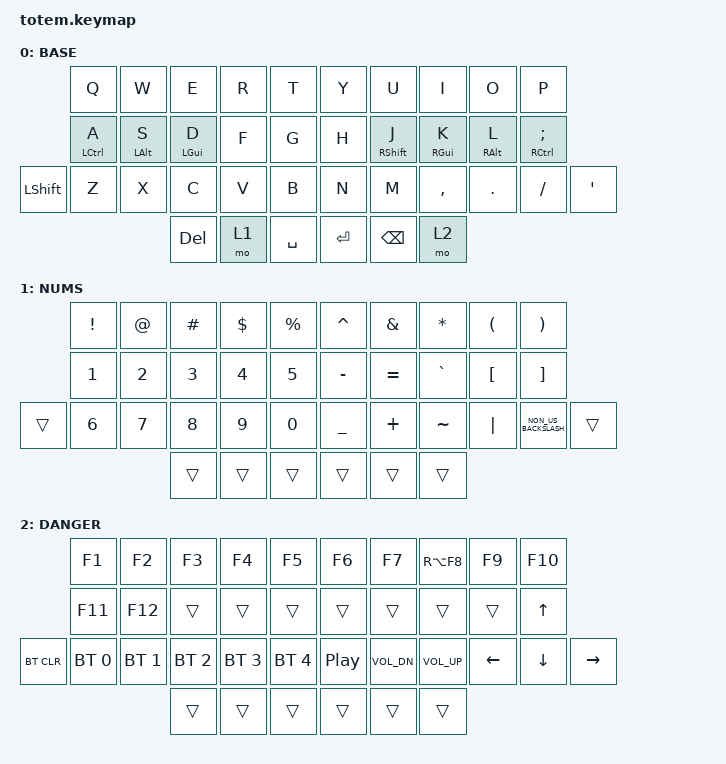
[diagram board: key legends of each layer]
//
//                                                        ▀▀▀▀▀     ▀▀▀▀▀          ▀▀█▀▀
//                                                        ▄▀▀▀▄  ▄  ▄▀▀▀▄  ▄  ▄▀▀▀▄  █  ▄▀▀▀▄
//                                                        █   █  █  █   █  █  █   █  █  █   █
//                                                         ▀▀▀   █   ▀▀▀   █   ▀▀▀   ▀   ▀▀▀
//                                                               █      ▄▄▄█▄▄▄    █   █  
//                                                               ▀      █  █  █     █▄█
//                                                             ▀▀▀▀▀    █  █  █      ▀
//                                                                      ▀  ▀  ▀
//
// ▄▄▄▄▄▄▄▄▄▄▄▄▄▄▄▄▄▄▄▄▄▄▄▄▄▄▄▄▄▄▄▄▄▄▄▄▄▄▄▄▄▄▄▄▄▄▄▄▄▄▄▄▄▄▄▄▄▄▄▄▄▄▄▄▄▄▄▄▄▄▄▄▄▄▄▄▄▄▄▄▄▄▄▄▄▄▄▄▄▄▄▄▄▄▄▄▄▄▄▄▄▄▄▄▄▄▄▄▄▄▄▄▄▄▄▄▄▄▄▄▄▄▄▄▄▄▄▄▄▄▄▄▄▄▄▄▄▄▄▄▄▄▄▄▄▄▄▄▄

#include <behaviors.dtsi>
#include <dt-bindings/zmk/bt.h>
#include <dt-bindings/zmk/keys.h>

#define BASE 0
#define NAV  1
#define SYM  2
#define ADJ  3
#define TVP1 4
#define TVP2 5

&mt {
    quick-tap-ms = <100>;
    global-quick-tap;
    flavor = "tap-preferred";
    tapping-term-ms = <170>;
};

/ {
    combos {
        compatible = "zmk,combos";

        combo_esc {
            timeout-ms = <50>;
            key-positions = <0 1>;
            bindings = <&kp ESC>;
        };

        combo_tab {
            bindings = <&kp TAB>;
            key-positions = <10 11>;
        };

        combo_undo {
            bindings = <&kp LG(Z)>;
            key-positions = <21 22>;
        };

        combo_cut {
            bindings = <&kp LG(X)>;
            key-positions = <22 23>;
        };

        combo_copy {
            bindings = <&kp LG(C)>;
            key-positions = <23 24>;
        };

        combo_paste {
            bindings = <&kp LG(V)>;
            key-positions = <24 25>;
        };

        lock_screen {
            bindings = <&kp LG(L)>;
            key-positions = <20 31>;
        };
    };

    keymap {
        compatible = "zmk,keymap";

        // ▄▄▄▄▄▄▄▄▄▄▄▄▄▄▄▄▄▄▄▄▄▄▄▄▄▄▄▄▄▄▄▄▄▄▄▄▄▄▄▄▄▄▄▄▄▄▄▄▄▄▄▄▄▄▄▄▄▄▄▄▄▄▄▄▄▄▄▄▄▄▄▄▄▄▄▄▄▄▄▄▄▄▄▄▄▄▄▄▄▄▄▄▄▄▄▄▄▄▄▄▄▄▄▄▄▄▄▄▄▄▄▄▄▄▄▄▄▄▄▄▄▄▄▄▄▄▄▄▄▄▄▄▄▄▄▄▄▄▄▄▄▄▄▄▄▄▄▄▄

        base_layer {
            // ┏━━━━━━━━━━━━━━━━━━━━━━━━━━━━━━━━━━━━━━━┓

            label = "BASE";

            // ┗━━━━━━━━━━━━━━━━━━━━━━━━━━━━━━━━━━━━━━━┛
            //             ┏━━━━━━━━━━━┳━━━━━━━━━━━┳━━━━━━━━━━━┳━━━━━━━━━━━┳━━━━━━━━━━━┓   ┏━━━━━━━━━━━┳━━━━━━━━━━━┳━━━━━━━━━━━┳━━━━━━━━━━━┳━━━━━━━━━━━┓
            //             ┃     Q     ┃     W     ┃     F     ┃     P     ┃     G     ┃   ┃     J     ┃     L     ┃     U     ┃     Y     ┃     ;     ┃
            //             ┣━━━━━━━━━━━╋━━━━━━━━━━━╋━━━━━━━━━━━╋━━━━━━━━━━━╋━━━━━━━━━━━┫   ┣━━━━━━━━━━━╋━━━━━━━━━━━╋━━━━━━━━━━━╋━━━━━━━━━━━╋━━━━━━━━━━━┫
            //             ┃     A     ┃     R     ┃     S     ┃     T     ┃     D     ┃   ┃     H     ┃     N     ┃     E     ┃     I     ┃     O     ┃
            // ┏━━━━━━━━━━━╋━━━━━━━━━━━╋━━━━━━━━━━━╋━━━━━━━━━━━╋━━━━━━━━━━━╋━━━━━━━━━━━┫   ┣━━━━━━━━━━━╋━━━━━━━━━━━╋━━━━━━━━━━━╋━━━━━━━━━━━╋━━━━━━━━━━━╋━━━━━━━━━━━┓
            // ┃     Q     ┃     Z     ┃     X     ┃     C     ┃     V     ┃     B     ┃   ┃     K     ┃     M     ┃     ,     ┃     .     ┃     /     ┃     \     ┃
            // ┗━━━━━━━━━━━┻━━━━━━━━━━━┻━━━━━━━━━━━╋━━━━━━━━━━━╋━━━━━━━━━━━╋━━━━━━━━━━━┫   ┣━━━━━━━━━━━╋━━━━━━━━━━━╋━━━━━━━━━━━╋━━━━━━━━━━━┻━━━━━━━━━━━┻━━━━━━━━━━━┛
            //                                     ┃    DEL    ┃    TAB    ┃    SPC    ┃   ┃   ENTER   ┃           ┃   BSPC    ┃
            //                                     ┗━━━━━━━━━━━┻━━━━━━━━━━━┻━━━━━━━━━━━┛   ┗━━━━━━━━━━━┻━━━━━━━━━━━┻━━━━━━━━━━━┛

            bindings = <
                &kp Q        &kp W       &kp E           &kp R  &kp T        &kp Y    &kp U          &kp I            &kp O       &kp P
                &mt LCTRL A  &mt LALT S  &mt LEFT_GUI D  &kp F  &kp G        &kp H    &mt RSHFT J    &mt RIGHT_GUI K  &mt RALT L  &mt RCTRL SEMICOLON
&kp LEFT_SHIFT  &kp Z        &kp X       &kp C           &kp V  &kp B        &kp N    &kp M          &kp COMMA        &kp DOT     &kp FSLH             &kp SQT
                                         &kp DELETE      &mo 1  &kp SPACE    &kp RET  &kp BACKSPACE  &mo 2
            >;
        };

        // ▄▄▄▄▄▄▄▄▄▄▄▄▄▄▄▄▄▄▄▄▄▄▄▄▄▄▄▄▄▄▄▄▄▄▄▄▄▄▄▄▄▄▄▄▄▄▄▄▄▄▄▄▄▄▄▄▄▄▄▄▄▄▄▄▄▄▄▄▄▄▄▄▄▄▄▄▄▄▄▄▄▄▄▄▄▄▄▄▄▄▄▄▄▄▄▄▄▄▄▄▄▄▄▄▄▄▄▄▄▄▄▄▄▄▄▄▄▄▄▄▄▄▄▄▄▄▄▄▄▄▄▄▄▄▄▄▄▄▄▄▄▄▄▄▄▄▄▄▄

        nums_layer {
            // ┏━━━━━━━━━━━━━━━━━━━━━━━━━━━━━━━━━━━━━━━┓

            label = "NUMS";

            // ┗━━━━━━━━━━━━━━━━━━━━━━━━━━━━━━━━━━━━━━━┛
            //             ┏━━━━━━━━━━━┳━━━━━━━━━━━┳━━━━━━━━━━━┳━━━━━━━━━━━┳━━━━━━━━━━━┓   ┏━━━━━━━━━━━┳━━━━━━━━━━━┳━━━━━━━━━━━┳━━━━━━━━━━━┳━━━━━━━━━━━┓
            //             ┃           ┃           ┃     UP    ┃           ┃     {     ┃   ┃     }     ┃     7     ┃     8     ┃     9     ┃     +     ┃
            //             ┣━━━━━━━━━━━╋━━━━━━━━━━━╋━━━━━━━━━━━╋━━━━━━━━━━━╋━━━━━━━━━━━┫   ┣━━━━━━━━━━━╋━━━━━━━━━━━╋━━━━━━━━━━━╋━━━━━━━━━━━╋━━━━━━━━━━━┫
            //             ┃   SHIFT   ┃   LEFT    ┃    DOWN   ┃   RIGHT   ┃     [     ┃   ┃     ]     ┃     4     ┃     5     ┃     6     ┃     -     ┃
            // ┏━━━━━━━━━━━╋━━━━━━━━━━━╋━━━━━━━━━━━╋━━━━━━━━━━━╋━━━━━━━━━━━╋━━━━━━━━━━━┫   ┣━━━━━━━━━━━╋━━━━━━━━━━━╋━━━━━━━━━━━╋━━━━━━━━━━━╋━━━━━━━━━━━╋━━━━━━━━━━━┓
            // ┃           ┃           ┃   P UP    ┃  C LOCK   ┃  P DOWN   ┃     (     ┃   ┃     )     ┃     1     ┃     2     ┃     3     ┃     *     ┃           ┃
            // ┗━━━━━━━━━━━┻━━━━━━━━━━━┻━━━━━━━━━━━╋━━━━━━━━━━━╋━━━━━━━━━━━╋━━━━━━━━━━━┫   ┣━━━━━━━━━━━╋━━━━━━━━━━━╋━━━━━━━━━━━╋━━━━━━━━━━━┻━━━━━━━━━━━┻━━━━━━━━━━━┛
            //                                     ┃           ┃    TAB    ┃    SPC    ┃   ┃    DEL    ┃     0     ┃           ┃
            //                                     ┗━━━━━━━━━━━┻━━━━━━━━━━━┻━━━━━━━━━━━┛   ┗━━━━━━━━━━━┻━━━━━━━━━━━┻━━━━━━━━━━━┛

            bindings = <
        &kp EXCLAMATION  &kp AT_SIGN   &kp HASH      &kp DOLLAR    &kp PERCENT    &kp CARET       &kp AMPERSAND  &kp ASTERISK  &kp LEFT_PARENTHESIS  &kp RIGHT_PARENTHESIS
        &kp NUMBER_1     &kp NUMBER_2  &kp NUMBER_3  &kp NUMBER_4  &kp N5         &kp MINUS       &kp EQUAL      &kp GRAVE     &kp LEFT_BRACKET      &kp RIGHT_BRACKET
&trans  &kp NUMBER_6     &kp N7        &kp N8        &kp N9        &kp N0         &kp UNDERSCORE  &kp PLUS       &kp TILDE     &kp PIPE              &kp NON_US_BACKSLASH   &trans
                                       &trans        &trans        &trans         &trans          &trans         &trans
            >;
        };

        // ▄▄▄▄▄▄▄▄▄▄▄▄▄▄▄▄▄▄▄▄▄▄▄▄▄▄▄▄▄▄▄▄▄▄▄▄▄▄▄▄▄▄▄▄▄▄▄▄▄▄▄▄▄▄▄▄▄▄▄▄▄▄▄▄▄▄▄▄▄▄▄▄▄▄▄▄▄▄▄▄▄▄▄▄▄▄▄▄▄▄▄▄▄▄▄▄▄▄▄▄▄▄▄▄▄▄▄▄▄▄▄▄▄▄▄▄▄▄▄▄▄▄▄▄▄▄▄▄▄▄▄▄▄▄▄▄▄▄▄▄▄▄▄▄▄▄▄▄▄

        danger_layer {
            // ┏━━━━━━━━━━━━━━━━━━━━━━━━━━━━━━━━━━━━━━━┓

            label = "DANGER";

            // ┗━━━━━━━━━━━━━━━━━━━━━━━━━━━━━━━━━━━━━━━┛
            //             ┏━━━━━━━━━━━┳━━━━━━━━━━━┳━━━━━━━━━━━┳━━━━━━━━━━━┳━━━━━━━━━━━┓   ┏━━━━━━━━━━━┳━━━━━━━━━━━┳━━━━━━━━━━━┳━━━━━━━━━━━┳━━━━━━━━━━━┓
            //             ┃     !     ┃     @     ┃     #     ┃     $     ┃     %     ┃   ┃     ˆ     ┃     &     ┃     Ü     ┃     '     ┃     "     ┃
            //             ┣━━━━━━━━━━━╋━━━━━━━━━━━╋━━━━━━━━━━━╋━━━━━━━━━━━╋━━━━━━━━━━━┫   ┣━━━━━━━━━━━╋━━━━━━━━━━━╋━━━━━━━━━━━╋━━━━━━━━━━━╋━━━━━━━━━━━┫
            //             ┃     Ä     ┃           ┃    SZ     ┃           ┃           ┃   ┃   MUTE    ┃   YEN     ┃   EURO    ┃  POUND    ┃     Ö     ┃
            // ┏━━━━━━━━━━━╋━━━━━━━━━━━╋━━━━━━━━━━━╋━━━━━━━━━━━╋━━━━━━━━━━━╋━━━━━━━━━━━┫   ┣━━━━━━━━━━━╋━━━━━━━━━━━╋━━━━━━━━━━━╋━━━━━━━━━━━╋━━━━━━━━━━━╋━━━━━━━━━━━┓
            // ┃           ┃  EMAIL1   ┃  EMAIL2   ┃           ┃           ┃           ┃   ┃   VOL-    ┃   VOL+    ┃   LAST    ┃   NEXT    ┃     \     ┃           ┃
            // ┗━━━━━━━━━━━┻━━━━━━━━━━━┻━━━━━━━━━━━╋━━━━━━━━━━━╋━━━━━━━━━━━╋━━━━━━━━━━━┫   ┣━━━━━━━━━━━╋━━━━━━━━━━━╋━━━━━━━━━━━╋━━━━━━━━━━━┻━━━━━━━━━━━┻━━━━━━━━━━━┛
            //                                     ┃           ┃    GIF    ┃    ADJ    ┃   ┃           ┃           ┃           ┃
            //                                     ┗━━━━━━━━━━━┻━━━━━━━━━━━┻━━━━━━━━━━━┛   ┗━━━━━━━━━━━┻━━━━━━━━━━━┻━━━━━━━━━━━┛

            bindings = <
            &kp F1        &kp F2        &kp F3        &kp F4        &kp F5          &kp F6            &kp F7        &kp RA(F8)       &kp F9    &kp F10
            &kp F11       &kp F12       &trans        &trans        &trans          &trans            &trans        &trans           &trans    &kp UP_ARROW
&bt BT_CLR  &bt BT_SEL 0  &bt BT_SEL 1  &bt BT_SEL 2  &bt BT_SEL 3  &bt BT_SEL 4    &kp C_PLAY_PAUSE  &kp C_VOL_DN  &kp C_VOLUME_UP  &kp LEFT  &kp DOWN      &kp RIGHT
                                        &trans        &trans        &trans          &trans            &trans        &trans
            >;
        };

        // ▄▄▄▄▄▄▄▄▄▄▄▄▄▄▄▄▄▄▄▄▄▄▄▄▄▄▄▄▄▄▄▄▄▄▄▄▄▄▄▄▄▄▄▄▄▄▄▄▄▄▄▄▄▄▄▄▄▄▄▄▄▄▄▄▄▄▄▄▄▄▄▄▄▄▄▄▄▄▄▄▄▄▄▄▄▄▄▄▄▄▄▄▄▄▄▄▄▄▄▄▄▄▄▄▄▄▄▄▄▄▄▄▄▄▄▄▄▄▄▄▄▄▄▄▄▄▄▄▄▄▄▄▄▄▄▄▄▄▄▄▄▄▄▄▄▄▄▄▄
        // ▄▄▄▄▄▄▄▄▄▄▄▄▄▄▄▄▄▄▄▄▄▄▄▄▄▄▄▄▄▄▄▄▄▄▄▄▄▄▄▄▄▄▄▄▄▄▄▄▄▄▄▄▄▄▄▄▄▄▄▄▄▄▄▄▄▄▄▄▄▄▄▄▄▄▄▄▄▄▄▄▄▄▄▄▄▄▄▄▄▄▄▄▄▄▄▄▄▄▄▄▄▄▄▄▄▄▄▄▄▄▄▄▄▄▄▄▄▄▄▄▄▄▄▄▄▄▄▄▄▄▄▄▄▄▄▄▄▄▄▄▄▄▄▄▄▄▄▄▄
        // ▄▄▄▄▄▄▄▄▄▄▄▄▄▄▄▄▄▄▄▄▄▄▄▄▄▄▄▄▄▄▄▄▄▄▄▄▄▄▄▄▄▄▄▄▄▄▄▄▄▄▄▄▄▄▄▄▄▄▄▄▄▄▄▄▄▄▄▄▄▄▄▄▄▄▄▄▄▄▄▄▄▄▄▄▄▄▄▄▄▄▄▄▄▄▄▄▄▄▄▄▄▄▄▄▄▄▄▄▄▄▄▄▄▄▄▄▄▄▄▄▄▄▄▄▄▄▄▄▄▄▄▄▄▄▄▄▄▄▄▄▄▄▄▄▄▄▄▄▄
    };
};
